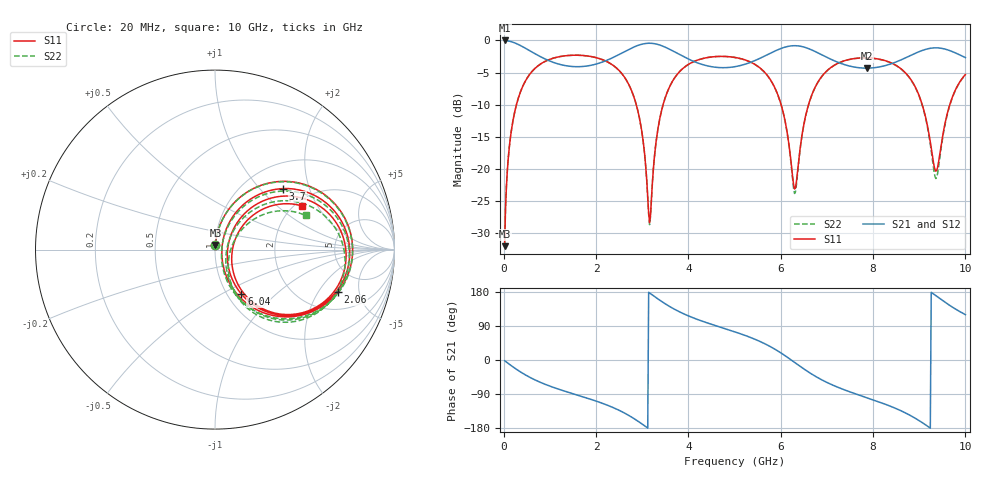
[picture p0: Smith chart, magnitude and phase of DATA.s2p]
! kisi 0.3.3: S-parameters of lane DATA (kisi's channel model of the board)
! board board.kicad_pcb
! subcircuit DATA_lane (single line)
! port 1 (a): DATA at U1.4 (transmitter end)
! port 2 (b): DATA at U2.2 (receiver end)
! track length 28.12 mm, delay 162.1 ps, reference 50.00 ohm per port
! the receiver's termination resistors are not included (they act as the receiver's termination)
! stackup: 2 copper layers, 1.49 mm, er and tand at 1 GHz; from board file (layer by layer in the README)
!  layers (um): F.Cu 30 / 1430 er 4.42 tand 0.02 / B.Cu 30
# HZ S RI R 5.000000e1
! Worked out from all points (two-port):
!   500 points, 20 MHz to 10 GHz, reference 50 ohm
!   highest |S21| = -0.02 dB at 20 MHz (marker M1); lowest = -4.3 dB at 7.86 GHz (marker M2)
!   |S21| within 3 dB of the highest: 2.262 GHz to 4.034 GHz (1.772 GHz wide, 56.3 % of centre); 5.482 GHz to 7.111 GHz (1.629 GHz wide, 25.9 % of centre)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
!   lowest |S11| = -32.0 dB at 20 MHz (marker M3), VSWR 1.05, Z = 50.2 + j2.52 ohm
!   |S11| at or under -10 dB: 2.872 GHz to 3.452 GHz (580.3 MHz wide, 18.4 % of centre); 6.009 GHz to 6.602 GHz (592.9 MHz wide, 9.4 % of centre); 9.066 GHz to 9.662 GHz (595.9 MHz wide, 6.36 % of centre)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
!   |S22| runs from -32.0 to -2.3 dB; largest |S21 - S12| = 0
!   S11 on the Smith chart (normalised r, x): 20 MHz: 1.00, +0.05; 2.06 GHz: 3.05, -3.04; 3.7 GHz: 1.48, +1.36; 6.04 GHz: 1.16, -0.63; 10 GHz: 2.17, +1.50
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2e7  0.00223 0.0251  0.9976 -0.0329  0.9976 -0.0329  0.00223 0.0251
1.6e8  0.0511 0.1853  0.9458 -0.2462  0.9458 -0.2462  0.0514 0.1852
4.2e8  0.2617 0.36  0.722 -0.5187  0.722 -0.5187  0.2632 0.3589
1.02e9  0.6713 0.2509  0.2371 -0.644  0.2371 -0.644  0.6737 0.244
1.7e9  0.7601 -0.0726  -0.0713 -0.6221  -0.0713 -0.6221  0.7585 -0.0856
2.06e9  0.6841 -0.2374  -0.2365 -0.6202  -0.2365 -0.6202  0.6787 -0.2517
2.82e9  0.191 -0.3098  -0.8007 -0.3827  -0.8007 -0.3827  0.1811 -0.3153
3e9  0.0736 -0.1718  -0.918 -0.1763  -0.918 -0.1763  0.0671 -0.1741
3.16e9  0.0383 -0.00318  -0.9484 0.0516  -0.9484 0.0516  0.0367 -0.00429
3.36e9  0.109 0.1973  -0.8662 0.3239  -0.8662 0.3239  0.1142 0.1939
3.7e9  0.3801 0.34  -0.5642 0.5866  -0.5642 0.5866  0.3915 0.3262
4.3e9  0.7022 0.1629  -0.14 0.6343  -0.14 0.6343  0.708 0.1324
5.02e9  0.7155 -0.1706  0.1753 0.6005  0.1753 0.6005  0.7047 -0.208
6.04e9  0.1472 -0.2479  0.8404 0.2389  0.8404 0.2389  0.1265 -0.2575
6.3e9  0.0692 -0.0107  0.9037 -0.0984  0.9037 -0.0984  0.063 -0.0145
6.68e9  0.2688 0.2716  0.664 -0.5147  0.664 -0.5147  0.2832 0.2546
7.86e9  0.7273 -0.0788  -0.0982 -0.6002  -0.0982 -0.6002  0.7162 -0.1416
8.34e9  0.6199 -0.2806  -0.3265 -0.5603  -0.3265 -0.5603  0.5877 -0.3395
8.98e9  0.2311 -0.309  -0.756 -0.2963  -0.756 -0.2963  0.1887 -0.3332
9.36e9  0.0951 -0.0149  -0.8609 0.156  -0.8609 0.156  0.0814 -0.0224
9.66e9  0.2361 0.2086  -0.675 0.4881  -0.675 0.4881  0.249 0.1867
1e10  0.4849 0.2433  -0.3644 0.6383  -0.3644 0.6383  0.5053 0.1904
